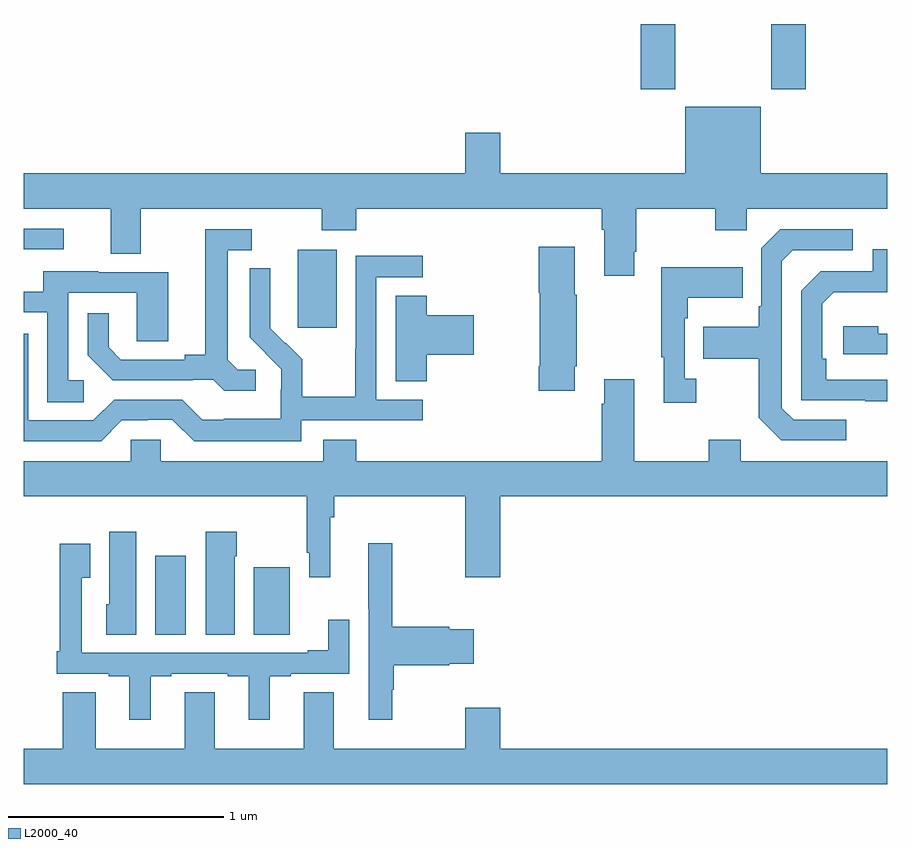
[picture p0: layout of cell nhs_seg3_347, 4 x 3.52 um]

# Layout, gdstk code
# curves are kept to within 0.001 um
import gdstk
lib = gdstk.Library(unit=1e-6, precision=1e-09)
def R(c, l, rs):  # rectangles x0, y0, x1, y1
    for r in rs: c.add(gdstk.rectangle(r[:2], r[2:], *l))
def P(c, l, *ps):  # polygons
    for p in ps: c.add(gdstk.Polygon(p, *l))
L2000_40 = (2000, 40)

nhs_seg3_347 = lib.new_cell('nhs_seg3_347')
R(nhs_seg3_347, L2000_40, [(127.61,737.572,127.75,737.938), (128.066,737.572,128.233,737.884), (128.27,738.993,128.449,739.354), (127,739.356,127.186,739.452), (129.857,740.097,130.017,740.4), (130.462,740.097,130.622,740.4)])
P(nhs_seg3_347, L2000_40, [(129.829,739.345),(129.837,739.345),(129.837,739.544),(130.204,739.544),(130.204,739.445),(130.35,739.445),(130.35,739.544),(131,739.544),(131,739.708),(130.414,739.708),(130.414,740.017),(130.064,740.017),(130.064,739.708),(129.208,739.708),(129.208,739.897),(129.044,739.897),(129.044,739.708),(127,739.708),(127,739.544),(127.403,739.544),(127.403,739.336),(127.543,739.336),(127.543,739.544),(128.38,739.544),(128.38,739.445),(128.54,739.445),(128.54,739.544),(129.677,739.544),(129.677,739.448),(129.689,739.448),(129.689,739.233),(129.829,739.233)],
  [(128.074,738.798),(127.992,738.798),(127.945,738.845),(127.945,739.353),(128.056,739.353),(128.056,739.449),(127.841,739.449),(127.841,738.869),(127.745,738.869),(127.745,738.846),(127.45,738.846),(127.393,738.903),(127.393,739.06),(127.296,739.06),(127.296,738.866),(127.412,738.75),(127.784,738.75),(127.784,738.753),(127.878,738.753),(127.93,738.701),(128.074,738.701)],
  [(130.81,738.567),(130.566,738.567),(130.512,738.621),(130.512,739.302),(130.563,739.353),(130.84,739.353),(130.84,739.449),(130.503,739.449),(130.416,739.362),(130.416,739.093),(130.404,739.093),(130.404,738.997),(130.147,738.997),(130.147,738.85),(130.404,738.85),(130.404,738.577),(130.509,738.471),(130.81,738.471)],
  [(129.553,738.814),(129.561,738.814),(129.561,739.145),(129.553,739.145),(129.553,739.369),(129.386,739.369),(129.386,739.156),(129.391,739.156),(129.391,738.814),(129.386,738.814),(129.386,738.702),(129.553,738.702)],
  [(131,738.753),(130.718,738.753),(130.718,738.85),(130.698,738.85),(130.698,739.104),(130.751,739.157),(131,739.157),(131,739.356),(130.932,739.356),(130.932,739.254),(130.692,739.254),(130.602,739.164),(130.602,738.657),(130.897,738.657),(130.897,738.652),(131,738.652)],
  [(128.286,738.564),(128.848,738.564),(128.848,738.66),(128.634,738.66),(128.634,739.227),(128.848,739.227),(128.848,739.326),(128.538,739.326),(128.538,738.896),(128.536,738.896),(128.536,738.673),(128.291,738.673),(128.291,738.847),(128.214,738.924),(128.211,738.921),(128.141,738.992),(128.142,739.268),(128.046,739.268),(128.046,738.95),(128.192,738.802),(128.192,738.705),(128.19,738.705),(128.19,738.571),(127.927,738.571),(127.927,738.567),(127.827,738.567),(127.734,738.66),(127.419,738.66),(127.323,738.564),(127.02,738.564),(127.02,738.966),(127,738.966),(127,738.468),(127.359,738.468),(127.455,738.564),(127.574,738.564),(127.574,738.567),(127.689,738.567),(127.789,738.467),(128.286,738.467)],
  [(130.114,738.758),(130.062,738.758),(130.062,739.037),(130.075,739.037),(130.075,739.133),(130.331,739.133),(130.331,739.273),(129.954,739.273),(129.954,738.857),(129.965,738.857),(129.965,738.645),(130.114,738.645)],
  [(127.279,738.75),(127.206,738.75),(127.206,739.155),(127.524,739.155),(127.524,738.931),(127.669,738.931),(127.669,739.251),(127.345,739.251),(127.345,739.255),(127.091,739.255),(127.091,739.161),(127,739.161),(127,739.065),(127.11,739.065),(127.11,738.649),(127.279,738.649)],
  [(128.867,738.869),(129.085,738.869),(129.085,739.052),(128.867,739.052),(128.867,739.142),(128.723,739.142),(128.723,738.745),(128.867,738.745)],
  [(131,738.966),(130.958,738.966),(130.958,739),(130.797,739),(130.797,738.87),(131,738.87)],
  [(128.42,738.116),(128.438,738.116),(128.438,738.212),(129.044,738.212),(129.044,737.838),(129.208,737.838),(129.208,738.212),(131,738.212),(131,738.376),(130.321,738.376),(130.321,738.475),(130.174,738.475),(130.174,738.376),(129.829,738.376),(129.829,738.754),(129.689,738.754),(129.689,738.641),(129.677,738.641),(129.677,738.376),(128.54,738.376),(128.54,738.475),(128.387,738.475),(128.387,738.376),(127.635,738.376),(127.635,738.474),(127.497,738.474),(127.497,738.376),(127,738.376),(127,738.212),(128.31,738.212),(128.31,737.95),(128.322,737.95),(128.322,737.838),(128.42,737.838)],
  [(127.522,738.049),(127.397,738.049),(127.397,737.712),(127.382,737.712),(127.382,737.572),(127.522,737.572)],
  [(127.978,737.936),(127.986,737.936),(127.986,738.049),(127.844,738.049),(127.844,737.572),(127.978,737.572)],
  [(128.707,737.316),(128.714,737.316),(128.714,737.431),(128.972,737.431),(128.972,737.438),(129.085,737.438),(129.085,737.596),(128.972,737.596),(128.972,737.609),(128.707,737.609),(128.707,737.995),(128.597,737.995),(128.597,737.692),(128.598,737.692),(128.598,737.178),(128.707,737.178)],
  [(127.588,737.379),(127.684,737.379),(127.684,737.391),(127.946,737.391),(127.946,737.379),(128.042,737.379),(128.042,737.178),(128.14,737.178),(128.14,737.379),(128.236,737.379),(128.236,737.391),(128.508,737.391),(128.508,737.641),(128.411,737.641),(128.411,737.5),(128.315,737.5),(128.315,737.487),(127.269,737.487),(127.269,737.836),(127.309,737.836),(127.309,737.992),(127.168,737.992),(127.168,737.494),(127.153,737.494),(127.153,737.391),(127.394,737.391),(127.394,737.379),(127.49,737.379),(127.49,737.178),(127.588,737.178)],
  [(131,737.044),(129.208,737.044),(129.208,737.233),(129.044,737.233),(129.044,737.044),(128.437,737.044),(128.437,737.306),(128.297,737.306),(128.297,737.044),(127.885,737.044),(127.885,737.306),(127.745,737.306),(127.745,737.044),(127.333,737.044),(127.333,737.306),(127.181,737.306),(127.181,737.044),(127,737.044),(127,736.88),(131,736.88)])

lib.write_gds('nhs_seg3_347.gds')
